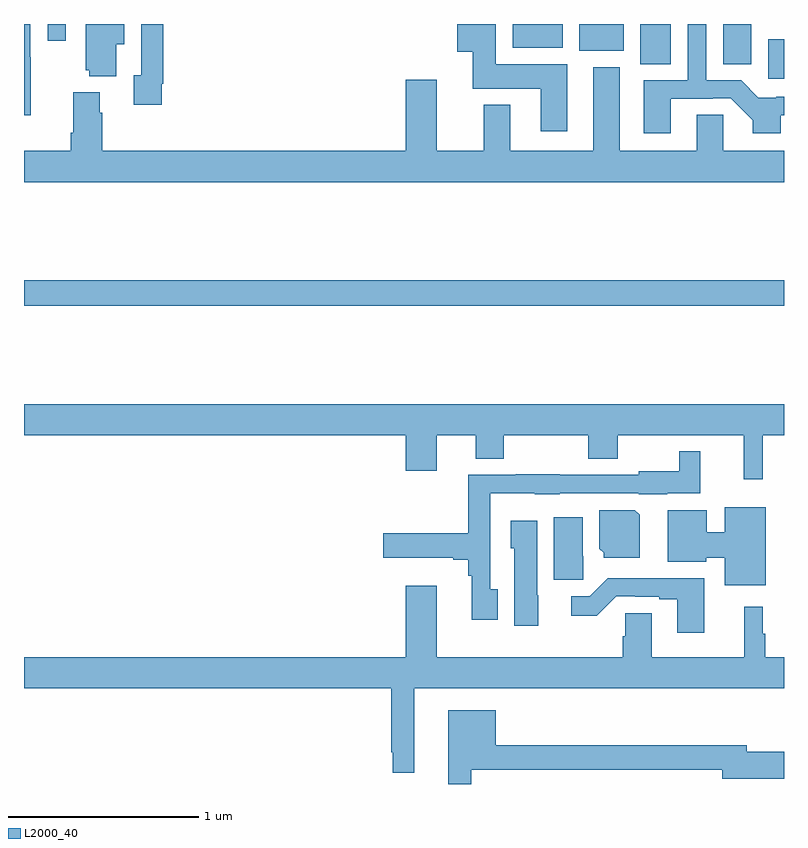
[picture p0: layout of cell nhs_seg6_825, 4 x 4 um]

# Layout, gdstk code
import gdstk
lib = gdstk.Library(unit=1e-6, precision=1e-09)
def R(c, l, rs):  # rectangles x0, y0, x1, y1
    for r in rs: c.add(gdstk.rectangle(r[:2], r[2:], *l))
def P(c, l, *ps):  # polygons
    for p in ps: c.add(gdstk.Polygon(p, *l))
L2000_40 = (2000, 40)

nhs_seg6_825 = lib.new_cell('nhs_seg6_825')
R(nhs_seg6_825, L2000_40, [(163,948.016,167,948.152), (166.916,949.211,167,949.42), (166.244,949.288,166.405,949.5), (166.679,949.288,166.828,949.5), (165.923,949.358,166.156,949.5), (165.572,949.376,165.835,949.5), (163.125,949.413,163.221,949.5)])
P(nhs_seg6_825, L2000_40, [(163.035,949.325),(163.032,949.325),(163.032,949.5),(163,949.5),(163,949.019),(163.035,949.019)],
  [(166.405,949.107),(166.625,949.107),(166.625,949.11),(166.719,949.11),(166.835,948.994),(166.835,948.926),(166.983,948.926),(166.983,949.019),(167,949.019),(167,949.116),(166.96,949.116),(166.96,949.113),(166.864,949.113),(166.774,949.203),(166.59,949.203),(166.59,949.5),(166.494,949.5),(166.494,949.203),(166.262,949.203),(166.262,948.924),(166.405,948.924)],
  [(165.859,949.288),(165.484,949.288),(165.484,949.5),(165.281,949.5),(165.281,949.355),(165.362,949.355),(165.362,949.16),(165.719,949.16),(165.719,948.936),(165.859,948.936)],
  [(163.726,949.186),(163.733,949.186),(163.733,949.5),(163.617,949.5),(163.617,949.23),(163.577,949.23),(163.577,949.074),(163.726,949.074)],
  [(163.486,949.394),(163.528,949.394),(163.528,949.5),(163.325,949.5),(163.325,949.257),(163.343,949.257),(163.343,949.226),(163.486,949.226)],
  [(167,948.832),(166.68,948.832),(166.68,949.022),(166.541,949.022),(166.541,948.832),(166.135,948.832),(166.135,949.273),(165.995,949.273),(165.995,948.832),(165.559,948.832),(165.559,949.075),(165.419,949.075),(165.419,948.832),(165.172,948.832),(165.172,949.207),(165.008,949.207),(165.008,948.832),(163.412,948.832),(163.412,949.034),(163.399,949.034),(163.399,949.141),(163.259,949.141),(163.259,948.928),(163.247,948.928),(163.247,948.832),(163,948.832),(163,948.668),(167,948.668)],
  [(166.889,947.336),(167,947.336),(167,947.5),(163,947.5),(163,947.336),(165.008,947.336),(165.008,947.148),(165.172,947.148),(165.172,947.336),(165.377,947.336),(165.377,947.212),(165.525,947.212),(165.525,947.336),(165.97,947.336),(165.97,947.212),(166.125,947.212),(166.125,947.336),(166.789,947.336),(166.789,947.103),(166.889,947.103)],
  [(165.493,946.526),(165.453,946.526),(165.453,947.03),(165.687,947.03),(165.687,947.024),(165.819,947.024),(165.819,947.031),(166.236,947.031),(166.236,947.024),(166.386,947.024),(166.386,947.03),(166.56,947.03),(166.56,947.251),(166.449,947.251),(166.449,947.146),(166.236,947.146),(166.236,947.127),(165.819,947.127),(165.819,947.129),(165.587,947.129),(165.587,947.127),(165.337,947.127),(165.337,946.821),(164.892,946.821),(164.892,946.691),(165.26,946.691),(165.26,946.679),(165.337,946.679),(165.337,946.595),(165.356,946.595),(165.356,946.365),(165.493,946.365)],
  [(166.903,946.957),(166.688,946.957),(166.688,946.826),(166.594,946.826),(166.594,946.94),(166.388,946.94),(166.388,946.67),(166.59,946.67),(166.59,946.691),(166.688,946.691),(166.688,946.547),(166.903,946.547)],
  [(166.24,946.916),(166.214,946.942),(166.028,946.942),(166.028,946.738),(166.05,946.716),(166.05,946.691),(166.24,946.691)],
  [(165.944,946.698),(165.94,946.698),(165.94,946.903),(165.788,946.903),(165.788,946.575),(165.944,946.575)],
  [(165.706,946.494),(165.7,946.494),(165.7,946.885),(165.563,946.885),(165.563,946.74),(165.581,946.74),(165.581,946.332),(165.706,946.332)],
  [(166.579,946.582),(166.072,946.582),(165.978,946.488),(165.879,946.488),(165.879,946.386),(166.014,946.386),(166.116,946.488),(166.216,946.488),(166.216,946.485),(166.343,946.485),(166.343,946.473),(166.439,946.473),(166.439,946.296),(166.579,946.296)],
  [(163,946.004),(164.934,946.004),(164.934,945.667),(164.94,945.667),(164.94,945.56),(165.055,945.56),(165.055,946.004),(167,946.004),(167,946.168),(166.9,946.168),(166.9,946.292),(166.888,946.292),(166.888,946.432),(166.79,946.432),(166.79,946.168),(166.303,946.168),(166.303,946.4),(166.164,946.4),(166.164,946.278),(166.151,946.278),(166.151,946.168),(165.172,946.168),(165.172,946.543),(165.008,946.543),(165.008,946.168),(163,946.168)],
  [(165.355,945.574),(166.676,945.574),(166.676,945.527),(167,945.527),(167,945.669),(166.804,945.669),(166.804,945.703),(165.484,945.703),(165.484,945.889),(165.233,945.889),(165.233,945.5),(165.355,945.5)])

lib.write_gds('nhs_seg6_825.gds')
